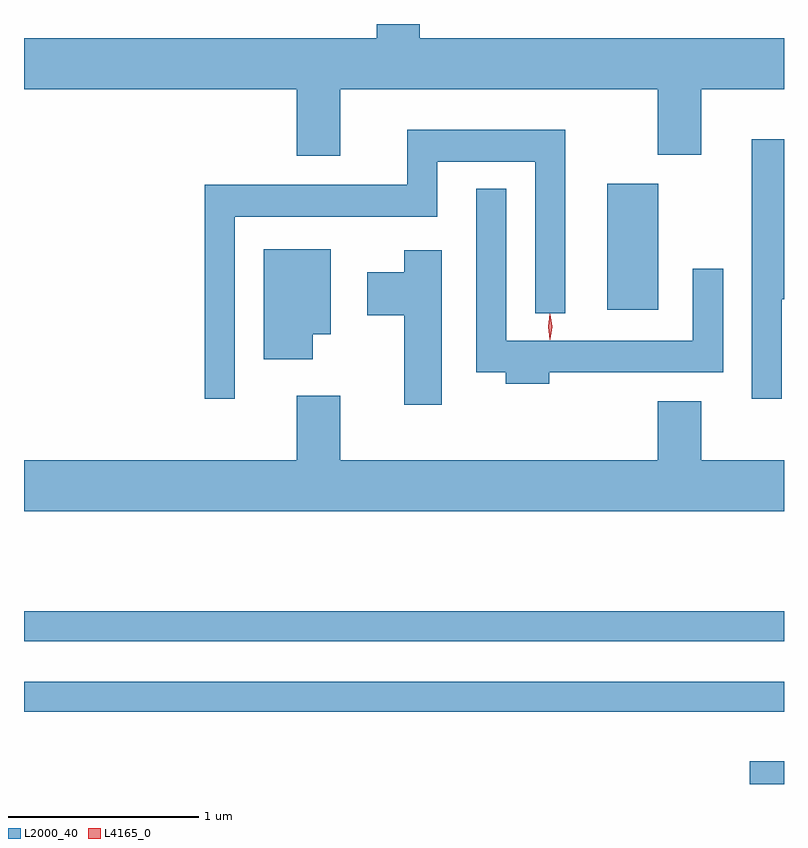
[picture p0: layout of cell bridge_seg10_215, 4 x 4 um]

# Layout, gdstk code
import gdstk
lib = gdstk.Library(unit=1e-6, precision=1e-09)
def R(c, l, rs):  # rectangles x0, y0, x1, y1
    for r in rs: c.add(gdstk.rectangle(r[:2], r[2:], *l))
def P(c, l, *ps):  # polygons
    for p in ps: c.add(gdstk.Polygon(p, *l))
L2000_40 = (2000, 40)
L4165_0 = (4165, 0)

bridge_seg10_215 = lib.new_cell('bridge_seg10_215')
R(bridge_seg10_215, L2000_40, [(1722.276,2088.06,1722.455,2088.179), (1718.455,2088.441,1722.455,2088.599), (1718.455,2088.811,1722.455,2088.969), (1721.526,2090.556,1721.794,2091.219)])
P(bridge_seg10_215, L2000_40, [(1720.119,2091.716),(1721.791,2091.716),(1721.791,2091.371),(1722.019,2091.371),(1722.019,2091.716),(1722.455,2091.716),(1722.455,2091.984),(1720.539,2091.984),(1720.539,2092.06),(1720.311,2092.06),(1720.311,2091.984),(1718.455,2091.984),(1718.455,2091.716),(1719.891,2091.716),(1719.891,2091.366),(1720.119,2091.366)],
  [(1719.564,2091.046),(1720.629,2091.046),(1720.629,2091.336),(1721.146,2091.336),(1721.146,2090.538),(1721.304,2090.538),(1721.304,2091.504),(1720.471,2091.504),(1720.471,2091.214),(1719.406,2091.214),(1719.406,2090.088),(1719.564,2090.088)],
  [(1722.444,2090.611),(1722.455,2090.611),(1722.455,2091.454),(1722.286,2091.454),(1722.286,2090.088),(1722.444,2090.088)],
  [(1721.219,2090.226),(1722.134,2090.226),(1722.134,2090.773),(1721.976,2090.773),(1721.976,2090.394),(1720.994,2090.394),(1720.994,2091.193),(1720.836,2091.193),(1720.836,2090.226),(1720.991,2090.226),(1720.991,2090.166),(1721.219,2090.166)],
  [(1719.974,2090.426),(1720.069,2090.426),(1720.069,2090.874),(1719.716,2090.874),(1719.716,2090.296),(1719.974,2090.296)],
  [(1720.654,2090.869),(1720.456,2090.869),(1720.456,2090.754),(1720.261,2090.754),(1720.261,2090.526),(1720.456,2090.526),(1720.456,2090.056),(1720.654,2090.056)],
  [(1722.455,2089.764),(1722.019,2089.764),(1722.019,2090.074),(1721.791,2090.074),(1721.791,2089.764),(1720.119,2089.764),(1720.119,2090.104),(1719.891,2090.104),(1719.891,2089.764),(1718.455,2089.764),(1718.455,2089.496),(1722.455,2089.496)])
P(bridge_seg10_215, L4165_0, [(1721.222,2090.397),(1721.213,2090.467),(1721.222,2090.536),(1721.223,2090.536),(1721.223,2090.536),(1721.233,2090.467),(1721.223,2090.397),(1721.223,2090.397)],
  [(1721.225,2090.399),(1721.225,2090.4),(1721.215,2090.466),(1721.225,2090.532),(1721.225,2090.533),(1721.226,2090.532),(1721.235,2090.466),(1721.226,2090.4)])

lib.write_gds('bridge_seg10_215.gds')
